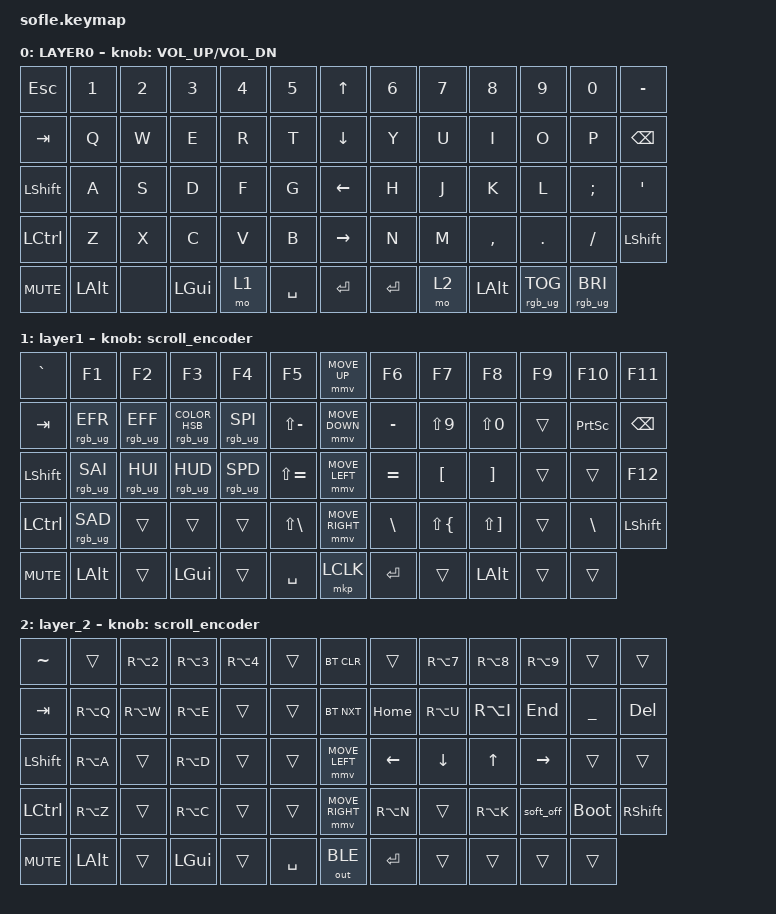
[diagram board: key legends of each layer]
#include <behaviors/mouse_keys.dtsi>
#include <dt-bindings/zmk/mouse.h>
#include <behaviors.dtsi>
#include <dt-bindings/zmk/bt.h>
#include <dt-bindings/zmk/keys.h>
#include <dt-bindings/zmk/outputs.h>
#include <dt-bindings/zmk/rgb.h>

#define ZMK_MOUSE_DEFAULT_MOVE_VAL 1200  // 600
#define ZMK_MOUSE_DEFAULT_SCRL_VAL 20    // 10
#define U_MS_U &mmv MOVE_UP
#define U_MS_D &mmv MOVE_DOWN
#define U_MS_L &mmv MOVE_LEFT
#define U_MS_R &mmv MOVE_RIGHT
#define ZMK_MOUSE_DEFAULT_MOVE_VAL 1200  //  600
#define ZMK_MOUSE_DEFAULT_SCRL_VAL 20    // 10

/ {
    behaviors {
        mmv {
            acceleration-exponent = <1>;      // 1
            time-to-max-speed-ms = <900>;    // 40
            delay-ms = <0>;                   // 0
        };

        msc {
            acceleration-exponent = <1>;      // 0
            time-to-max-speed-ms = <400>;      // 500
            delay-ms = <0>;                   //   10
        };
    };

    scroll_encoder: scroll_encoder {
        compatible = "zmk,behavior-sensor-rotate";
        #sensor-binding-cells = <0>;
        bindings = <&msc SCRL_DOWN>, <&msc SCRL_UP>;

        tap-ms = <30>;
    };

    keymap {
        compatible = "zmk,keymap";

        layer0 {
            bindings = <
&kp ESC           &kp N1        &kp N2  &kp N3        &kp N4  &kp N5       &kp UP_ARROW     &kp N6     &kp N7  &kp N8        &kp N9           &kp N0           &kp MINUS
&kp TAB           &kp Q         &kp W   &kp E         &kp R   &kp T        &kp DOWN_ARROW   &kp Y      &kp U   &kp I         &kp O            &kp P            &kp BACKSPACE
&kp LEFT_SHIFT    &kp A         &kp S   &kp D         &kp F   &kp G        &kp LEFT_ARROW   &kp H      &kp J   &kp K         &kp L            &kp SEMI         &kp APOS
&kp LEFT_CONTROL  &kp Z         &kp X   &kp C         &kp V   &kp B        &kp RIGHT_ARROW  &kp N      &kp M   &kp COMMA     &kp DOT          &kp FSLH         &kp LEFT_SHIFT
&kp C_MUTE        &kp LEFT_ALT  &none   &kp LEFT_GUI  &mo 1   &kp SPACE    &kp ENTER        &kp ENTER  &mo 2   &kp LEFT_ALT  &rgb_ug RGB_TOG  &rgb_ug RGB_BRI
            >;

            sensor-bindings = <&inc_dec_kp C_VOLUME_UP C_VOL_DN>;
            display-name = "LAYER0";
        };

        layer_1 {
            bindings = <
&kp GRAVE         &kp F1           &kp F2           &kp F3                             &kp F4           &kp F5               &mmv MOVE_UP     &kp F6         &kp F7              &kp F8                 &kp F9  &kp F10          &kp F11
&kp TAB           &rgb_ug RGB_EFR  &rgb_ug RGB_EFF  &rgb_ug RGB_COLOR_HSB(212,100,50)  &rgb_ug RGB_SPI  &kp LS(MINUS)        &mmv MOVE_DOWN   &kp MINUS      &kp LS(N9)          &kp LS(N0)             &trans  &kp PRINTSCREEN  &kp BACKSPACE
&kp LEFT_SHIFT    &rgb_ug RGB_SAI  &rgb_ug RGB_HUI  &rgb_ug RGB_HUD                    &rgb_ug RGB_SPD  &kp LS(EQUAL)        &mmv MOVE_LEFT   &kp EQUAL      &kp LEFT_BRACKET    &kp RIGHT_BRACKET      &trans  &trans           &kp F12
&kp LEFT_CONTROL  &rgb_ug RGB_SAD  &trans           &trans                             &trans           &kp LS(BACKSLASH)    &mmv MOVE_RIGHT  &kp BACKSLASH  &kp LS(LEFT_BRACE)  &kp LS(RIGHT_BRACKET)  &trans  &kp BACKSLASH    &kp LSHIFT
&kp C_MUTE        &kp LEFT_ALT     &trans           &kp LEFT_GUI                       &trans           &kp SPACE            &mkp LCLK        &kp ENTER      &trans              &kp LEFT_ALT           &trans  &trans
            >;

            display-name = "layer1";
            sensor-bindings = <&scroll_encoder>;
        };

        layer_2 {
            bindings = <
&kp TILDE         &trans        &kp RA(NUMBER_2)  &kp RA(NUMBER_3)  &kp RA(NUMBER_4)  &trans       &bt BT_CLR       &trans          &kp RA(N7)  &kp RA(N8)    &kp RA(N9)       &trans       &trans
&kp TAB           &kp RA(Q)     &kp RA(W)         &kp RA(E)         &trans            &trans       &bt BT_NXT       &kp HOME        &kp RA(U)   &kp RA(I)     &kp END          &kp UNDER    &kp DEL
&kp LEFT_SHIFT    &kp RA(A)     &trans            &kp RA(D)         &trans            &trans       &mmv MOVE_LEFT   &kp LEFT_ARROW  &kp DOWN    &kp UP_ARROW  &kp RIGHT_ARROW  &trans       &trans
&kp LEFT_CONTROL  &kp RA(Z)     &trans            &kp RA(C)         &trans            &trans       &mmv MOVE_RIGHT  &kp RA(N)       &trans      &kp RA(K)     &soft_off        &bootloader  &kp RIGHT_SHIFT
&kp C_MUTE        &kp LEFT_ALT  &trans            &kp LEFT_GUI      &trans            &kp SPACE    &out OUT_BLE     &kp ENTER       &trans      &trans        &trans           &trans
            >;

            sensor-bindings = <&scroll_encoder>;
        };
    };
};
